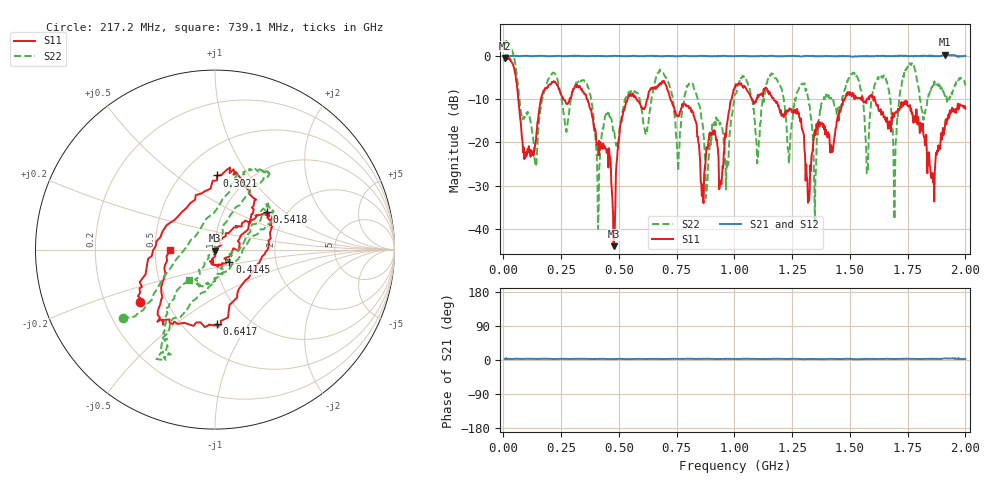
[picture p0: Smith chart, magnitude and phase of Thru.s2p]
! PocketVna 1.60  pocketvna.com
! Live measurements ((Reflection-S11, Transmission-S21, Transmission-S12, Reflection-S22) Linear 5000000-2000000000/800 calibrated)
# Hz S RI R 50
! Hz  ReS11  ImS11  ReS21  ImS21  ReS12  ImS12  ReS22  ImS22
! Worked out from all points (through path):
!   800 points, 5 MHz to 2 GHz, reference 50 ohm
!   highest |S21| = 0.23 dB at 1.913 GHz (marker M1); lowest = -0.5 dB at 7.497 MHz (marker M2)
!   lowest |S11| = -43.9 dB at 476.9 MHz (marker M3), VSWR 1.01, Z = 50 - j0.636 ohm
!   |S11| at or under -10 dB: 722.9 MHz to 987.8 MHz (264.9 MHz wide, 31 % of centre); 1.17 GHz to 1.475 GHz (305.7 MHz wide, 23.1 % of centre); 1.608 GHz to end of sweep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
!   |S22| runs from -40.0 to 3.5 dB; largest |S21 - S12| = 0.12
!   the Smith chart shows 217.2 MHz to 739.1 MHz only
!   S11 on the Smith chart (normalised r, x): 217.2 MHz: 0.35, -0.28; 302.1 MHz: 0.72, +0.72; 414.5 MHz: 1.16, -0.16; 541.8 MHz: 1.59, +0.77; 641.7 MHz: 0.72, -0.72; 739.1 MHz: 0.60, -0.00
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5000000  0.8867 -0.0451  0.9946 0.0501  1.111 0.0365  1.298 0.0212
7496871  0.8693 -0.0842  0.9409 0.0361  0.9568 0.0376  1.439 -0.1917
3.745932e7  0.4909 -0.6685  1.004 0.0463  0.9851 0.0491  0.693 -0.9185
1.373342e8  0.0231 -0.0947  0.9851 0.0536  0.988 0.0486  -0.0236 0.0521
2.17234e8  -0.4164 -0.2928  0.9881 0.0451  0.9902 0.0463  -0.5109 -0.3815
3.021277e8  0.0115 0.4134  1 0.0504  0.997 0.055  0.1049 0.3919
3.395807e8  0.1636 0.3782  0.9879 0.055  0.9874 0.0518  0.2808 0.4343
4.144869e8  0.0798 -0.0672  0.9927 0.0425  0.987 0.0506  -0.0373 -0.0336
4.769086e8  -7.67e-05 -0.00636  0.9936 0.0436  0.9907 0.0575  0.0143 -0.1342
5.418273e8  0.2893 0.2101  0.9909 0.0415  0.993 0.0433  0.2889 0.2408
6.417021e8  0.00952 -0.4154  0.9927 0.0501  0.9824 0.0524  -0.1324 -0.2915
6.716646e8  -0.2088 -0.414  0.9845 0.0485  0.9902 0.0434  -0.2904 -0.5747
7.390801e8  -0.2531 -0.0019  0.9848 0.0576  0.9915 0.0461  -0.1444 -0.1698
8.639237e8  0.00823 -0.0207  0.992 0.061  0.9863 0.0526  0.0827 0.1254
1.003748e9  0.3159 0.2921  0.9886 0.0469  0.9911 0.0491  0.2876 0.2213
1.335832e9  -0.0224 -0.0718  0.9891 0.0517  0.9913 0.0367  0.0691 0.1373
1.51311e9  0.3534 0.0761  0.9729 0.0358  0.977 0.0302  0.5995 0.2186
1.667916e9  -0.1498 0.0457  0.9907 0.052  0.992 0.0497  -0.2581 -0.318
1.692885e9  -0.0897 0.1937  0.9898 0.0444  0.9926 0.0442  -0.0122 0.00453
1.767791e9  0.1733 0.1266  0.9927 0.0497  0.99 0.0541  0.429 0.6975
1.91261e9  -0.007 0.1695  1.024 0.0751  1.023 0.0705  0.2128 -0.2628
2e9  0.2218 -0.1037  0.994 0.0524  0.9986 0.0509  0.4006 0.2134
